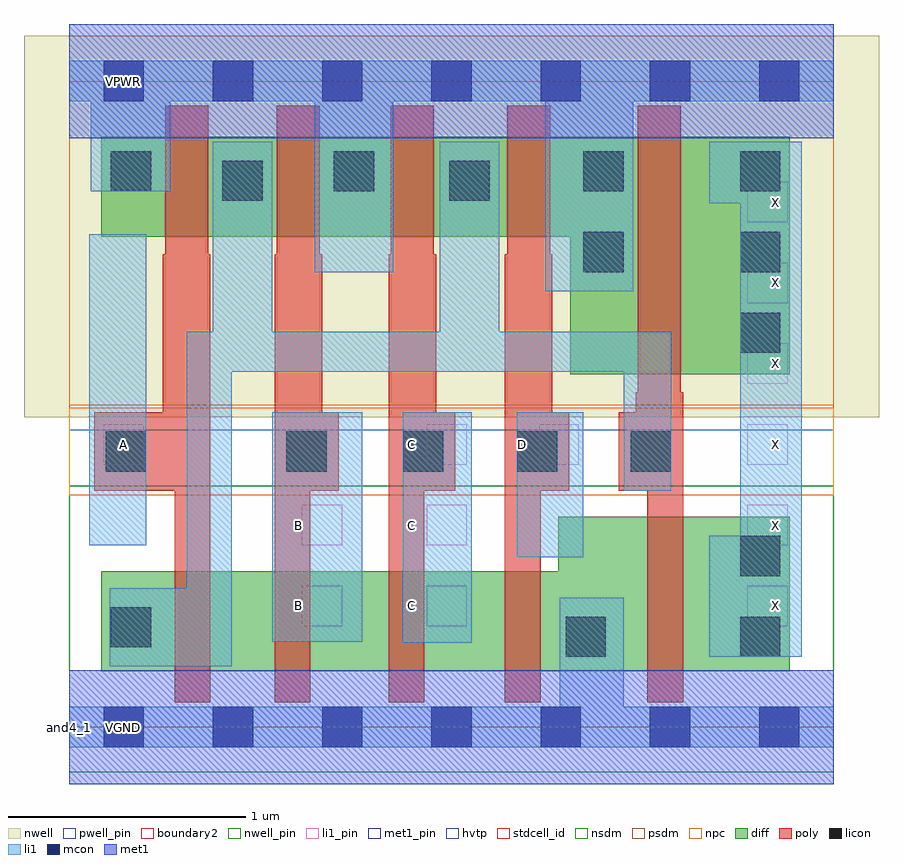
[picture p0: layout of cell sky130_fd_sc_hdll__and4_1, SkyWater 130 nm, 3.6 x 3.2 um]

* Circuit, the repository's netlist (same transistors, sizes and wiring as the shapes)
* Copyright 2020 The SkyWater PDK Authors
*
* Licensed under the Apache License, Version 2.0 (the "License");
* you may not use this file except in compliance with the License.
* You may obtain a copy of the License at
*
*     https://www.apache.org/licenses/LICENSE-2.0
*
* Unless required by applicable law or agreed to in writing, software
* distributed under the License is distributed on an "AS IS" BASIS,
* WITHOUT WARRANTIES OR CONDITIONS OF ANY KIND, either express or implied.
* See the License for the specific language governing permissions and
* limitations under the License.
*
* SPDX-License-Identifier: Apache-2.0

.SUBCKT sky130_fd_sc_hdll__and4_1 A B C D VGND VNB VPB VPWR X
*.PININFO A:I B:I C:I D:I VGND:I VNB:I VPB:I VPWR:I X:O
MMP0 y A VPWR VPB sky130_fd_pr__pfet_01v8_hvt m=1 w=0.42U l=0.18U mult=1 sa=0.265
+ sb=0.265 sd=0.28 area=0.063 perim=1.14
MMP1 y B VPWR VPB sky130_fd_pr__pfet_01v8_hvt m=1 w=0.42U l=0.18U mult=1 sa=0.265
+ sb=0.265 sd=0.28 area=0.063 perim=1.14
MMP2 y C VPWR VPB sky130_fd_pr__pfet_01v8_hvt m=1 w=0.42U l=0.18U mult=1 sa=0.265
+ sb=0.265 sd=0.28 area=0.063 perim=1.14
MMP3 y D VPWR VPB sky130_fd_pr__pfet_01v8_hvt m=1 w=0.42U l=0.18U mult=1 sa=0.265
+ sb=0.265 sd=0.28 area=0.063 perim=1.14
MMIP0 X y VPWR VPB sky130_fd_pr__pfet_01v8_hvt m=1 w=1.0U l=0.18U mult=1 sa=0.265
+ sb=0.265 sd=0.28 area=0.063 perim=1.14
MMN0 y A sndA VNB sky130_fd_pr__nfet_01v8 m=1 w=0.42U l=0.15U mult=1 sa=0.265 sb=0.265
+ sd=0.28 area=0.063 perim=1.14
MMN1 sndA B sndB VNB sky130_fd_pr__nfet_01v8 m=1 w=0.42U l=0.15U mult=1 sa=0.265
+ sb=0.265 sd=0.28 area=0.063 perim=1.14
MMN2 sndB C sndC VNB sky130_fd_pr__nfet_01v8 m=1 w=0.42U l=0.15U mult=1 sa=0.265
+ sb=0.265 sd=0.28 area=0.063 perim=1.14
MMN3 sndC D VGND VNB sky130_fd_pr__nfet_01v8 m=1 w=0.42U l=0.15U mult=1 sa=0.265
+ sb=0.265 sd=0.28 area=0.063 perim=1.14
MMIN0 X y VGND VNB sky130_fd_pr__nfet_01v8 m=1 w=0.65U l=0.15U mult=1 sa=0.265
+ sb=0.265 sd=0.28 area=0.063 perim=1.14
.ENDS sky130_fd_sc_hdll__and4_1

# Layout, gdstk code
import gdstk
lib = gdstk.Library(unit=1e-6, precision=1e-09)
def R(c, l, rs):  # rectangles x0, y0, x1, y1
    for r in rs: c.add(gdstk.rectangle(r[:2], r[2:], *l))
def A(c, l, x, y, w, h, nx, ny, dx, dy):  # array of equal rectangles
    R(c, l, [(x+i*dx, y+j*dy, x+i*dx+w, y+j*dy+h) for i in range(nx) for j in range(ny)])
def P(c, l, *ps):  # polygons
    for p in ps: c.add(gdstk.Polygon(p, *l))
nwell_pin = (64, 16)
nwell = (64, 20)
diff = (65, 20)
poly = (66, 20)
licon = (66, 44)
li1_pin = (67, 16)
li1 = (67, 20)
mcon = (67, 44)
met1_pin = (68, 16)
met1 = (68, 20)
hvtp = (78, 44)
stdcell_id = (81, 4)
nsdm = (93, 44)
psdm = (94, 20)
npc = (95, 20)
pwell_pin = (122, 16)
boundary2 = (236, 0)

sky130_fd_sc_hdll__and4_ = lib.new_cell('sky130_fd_sc_hdll__and4_1')
R(sky130_fd_sc_hdll__and4_, nwell_pin, [(0.145,2.635,0.315,2.805)])
R(sky130_fd_sc_hdll__and4_, nwell, [(-0.19,1.305,3.41,2.91)])
P(sky130_fd_sc_hdll__and4_, diff, [(3.035,0.885),(2.06,0.885),(2.06,0.655),(0.135,0.655),(0.135,0.235),(3.035,0.235)],
  [(3.035,2.485),(0.135,2.485),(0.135,2.065),(2.11,2.065),(2.11,1.485),(3.035,1.485)])
P(sky130_fd_sc_hdll__and4_, poly, [(0.595,1.99),(0.585,1.99),(0.585,2.615),(0.405,2.615),(0.405,1.99),(0.395,1.99),(0.395,1.325),(0.105,1.325),(0.105,0.995),(0.445,0.995),(0.445,0.105),(0.595,0.105)],
  [(1.135,1.325),(1.065,1.325),(1.065,1.99),(1.055,1.99),(1.055,2.615),(0.875,2.615),(0.875,1.99),(0.865,1.99),(0.865,0.105),(1.015,0.105),(1.015,0.995),(1.135,0.995)],
  [(1.625,1.325),(1.545,1.325),(1.545,1.99),(1.535,1.99),(1.535,2.615),(1.355,2.615),(1.355,1.99),(1.345,1.99),(1.345,0.105),(1.495,0.105),(1.495,0.995),(1.625,0.995)],
  [(2.105,1.325),(2.035,1.325),(2.035,1.99),(2.025,1.99),(2.025,2.615),(1.845,2.615),(1.845,1.99),(1.835,1.99),(1.835,0.105),(1.985,0.105),(1.985,0.995),(2.105,0.995)],
  [(2.585,1.41),(2.575,1.41),(2.575,2.615),(2.395,2.615),(2.395,1.41),(2.385,1.41),(2.385,1.325),(2.315,1.325),(2.315,0.995),(2.435,0.995),(2.435,0.105),(2.585,0.105)])
A(sky130_fd_sc_hdll__and4_, licon, 1.405, 1.075, 0.17, 0.17, 3, 1, 0.48, 0)
A(sky130_fd_sc_hdll__and4_, licon, 2.825, 1.575, 0.17, 0.17, 1, 3, 0, 0.34)
R(sky130_fd_sc_hdll__and4_, licon, [(2.09,0.295,2.26,0.465), (2.825,0.295,2.995,0.465), (0.175,0.335,0.345,0.505), (2.825,0.635,2.995,0.805), (0.155,1.075,0.325,1.245), (0.915,1.075,1.085,1.245), (2.165,1.915,2.335,2.085), (0.645,2.215,0.815,2.385), (1.6,2.215,1.77,2.385), (0.175,2.255,0.345,2.425), (1.115,2.255,1.285,2.425), (2.165,2.255,2.335,2.425)])
A(sky130_fd_sc_hdll__and4_, li1_pin, 1.505, 0.425, 0.17, 0.17, 1, 3, 0, 0.34)
A(sky130_fd_sc_hdll__and4_, li1_pin, 2.855, 0.425, 0.17, 0.17, 1, 6, 0, 0.34)
R(sky130_fd_sc_hdll__and4_, li1_pin, [(0.98,0.425,1.15,0.595), (0.98,0.765,1.15,0.935), (0.145,1.105,0.315,1.275), (1.98,1.105,2.145,1.275)])
R(sky130_fd_sc_hdll__and4_, li1, [(1.405,0.355,1.695,1.325), (0.855,0.36,1.235,1.325), (1.885,0.715,2.165,1.325), (0.085,0.765,0.325,2.075)])
P(sky130_fd_sc_hdll__and4_, li1, [(2.535,1.665),(1.81,1.665),(1.81,2.465),(1.56,2.465),(1.56,1.665),(0.855,1.665),(0.855,2.465),(0.605,2.465),(0.605,1.665),(0.495,1.665),(0.495,0.585),(0.17,0.585),(0.17,0.255),(0.685,0.255),(0.685,1.495),(2.335,1.495),(2.335,0.995),(2.535,0.995)],
  [(3.085,2.465),(2.695,2.465),(2.695,2.205),(2.825,2.205),(2.825,0.805),(2.695,0.805),(2.695,0.295),(3.085,0.295)],
  [(3.22,2.805),(0,2.805),(0,2.635),(0.09,2.635),(0.09,2.255),(0.425,2.255),(0.425,2.635),(1.035,2.635),(1.035,1.915),(1.365,1.915),(1.365,2.635),(2.005,2.635),(2.005,1.835),(2.375,1.835),(2.375,2.635),(3.22,2.635)],
  [(3.22,0.085),(2.335,0.085),(2.335,0.545),(2.065,0.545),(2.065,0.085),(0,0.085),(0,-0.085),(3.22,-0.085)])
A(sky130_fd_sc_hdll__and4_, mcon, 0.145, -0.085, 0.17, 0.17, 7, 2, 0.46, 2.72)
R(sky130_fd_sc_hdll__and4_, met1_pin, [(0.145,-0.085,0.315,0.085), (0.145,2.635,0.315,2.805)])
R(sky130_fd_sc_hdll__and4_, met1, [(0,-0.24,3.22,0.24), (0,2.48,3.22,2.96)])
R(sky130_fd_sc_hdll__and4_, hvtp, [(0,1.25,3.22,2.72)])
R(sky130_fd_sc_hdll__and4_, stdcell_id, [(0,0,3.22,2.72)])
R(sky130_fd_sc_hdll__and4_, nsdm, [(0,-0.19,3.22,1.015)])
R(sky130_fd_sc_hdll__and4_, psdm, [(0,1.355,3.22,2.91)])
R(sky130_fd_sc_hdll__and4_, npc, [(0,0.975,3.22,1.345)])
R(sky130_fd_sc_hdll__and4_, pwell_pin, [(0.145,-0.085,0.315,0.085)])
R(sky130_fd_sc_hdll__and4_, boundary2, [(0,0,3.22,2.72)])
sky130_fd_sc_hdll__and4_.add(gdstk.Label('X', (2.975,2.21), layer=67, texttype=5))
sky130_fd_sc_hdll__and4_.add(gdstk.Label('C', (1.44,0.51), layer=67, texttype=5))
sky130_fd_sc_hdll__and4_.add(gdstk.Label('C', (1.44,0.85), layer=67, texttype=5))
sky130_fd_sc_hdll__and4_.add(gdstk.Label('A', (0.23,1.19), layer=67, texttype=5))
sky130_fd_sc_hdll__and4_.add(gdstk.Label('C', (1.44,1.19), layer=67, texttype=5))
sky130_fd_sc_hdll__and4_.add(gdstk.Label('B', (0.965,0.51), layer=67, texttype=5))
sky130_fd_sc_hdll__and4_.add(gdstk.Label('B', (0.965,0.85), layer=67, texttype=5))
sky130_fd_sc_hdll__and4_.add(gdstk.Label('D', (1.91,1.19), layer=67, texttype=5))
sky130_fd_sc_hdll__and4_.add(gdstk.Label('X', (2.975,0.51), layer=67, texttype=5))
sky130_fd_sc_hdll__and4_.add(gdstk.Label('X', (2.975,0.85), layer=67, texttype=5))
sky130_fd_sc_hdll__and4_.add(gdstk.Label('X', (2.975,1.19), layer=67, texttype=5))
sky130_fd_sc_hdll__and4_.add(gdstk.Label('X', (2.975,1.53), layer=67, texttype=5))
sky130_fd_sc_hdll__and4_.add(gdstk.Label('X', (2.975,1.87), layer=67, texttype=5))
sky130_fd_sc_hdll__and4_.add(gdstk.Label('VGND', (0.23,0), layer=68, texttype=5))
sky130_fd_sc_hdll__and4_.add(gdstk.Label('VPWR', (0.23,2.72), layer=68, texttype=5))
sky130_fd_sc_hdll__and4_.add(gdstk.Label('VPB', (0.23,2.72), layer=64, texttype=5))
sky130_fd_sc_hdll__and4_.add(gdstk.Label('VNB', (0.23,0), layer=64, texttype=59))
sky130_fd_sc_hdll__and4_.add(gdstk.Label('and4_1', (0,0), layer=83, texttype=44))

lib.write_gds('sky130_fd_sc_hdll__and4_1.gds')
